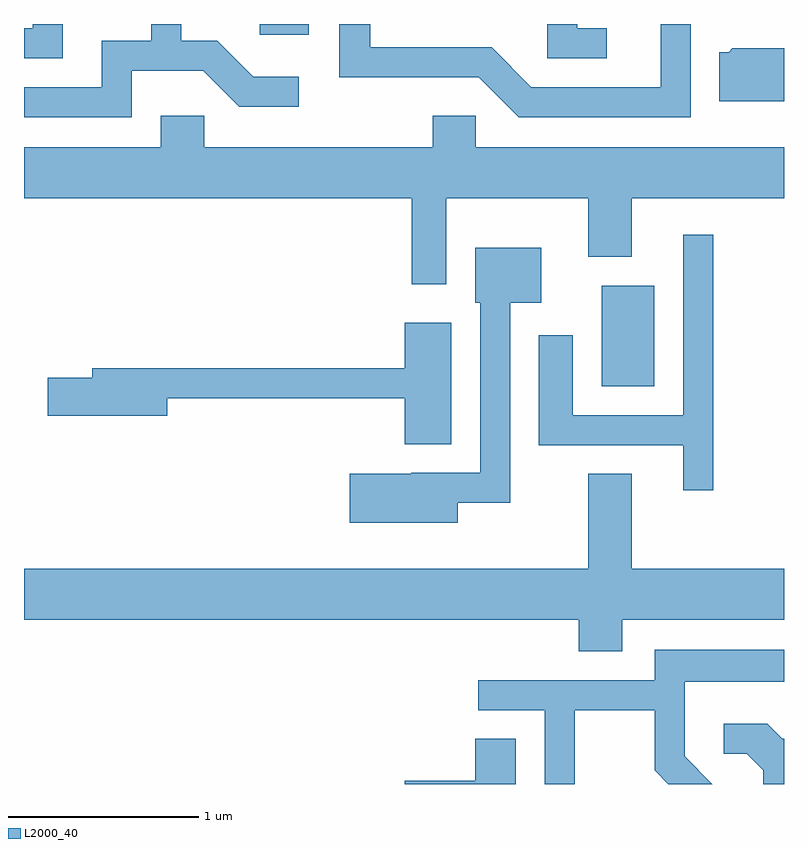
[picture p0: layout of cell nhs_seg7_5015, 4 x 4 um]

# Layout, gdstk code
import gdstk
lib = gdstk.Library(unit=1e-6, precision=1e-09)
def R(c, l, rs):  # rectangles x0, y0, x1, y1
    for r in rs: c.add(gdstk.rectangle(r[:2], r[2:], *l))
def P(c, l, *ps):  # polygons
    for p in ps: c.add(gdstk.Polygon(p, *l))
L2000_40 = (2000, 40)

nhs_seg7_5015 = lib.new_cell('nhs_seg7_5015')
R(nhs_seg7_5015, L2000_40, [(340.651,1804.346,340.929,1804.874), (338.851,1806.196,339.109,1806.252)])
P(nhs_seg7_5015, L2000_40, [(337.814,1806.252),(337.656,1806.252),(337.656,1806.229),(337.611,1806.229),(337.611,1806.071),(337.814,1806.071)],
  [(340.678,1806.229),(340.524,1806.229),(340.524,1806.252),(340.366,1806.252),(340.366,1806.071),(340.678,1806.071)],
  [(338.179,1806.006),(338.554,1806.006),(338.744,1805.816),(339.058,1805.816),(339.058,1805.974),(338.817,1805.974),(338.627,1806.164),(338.439,1806.164),(338.439,1806.252),(338.281,1806.252),(338.281,1806.164),(338.021,1806.164),(338.021,1805.919),(337.611,1805.919),(337.611,1805.761),(338.179,1805.761)],
  [(341.119,1806.252),(340.961,1806.252),(340.961,1805.919),(340.282,1805.919),(340.072,1806.129),(339.434,1806.129),(339.434,1806.252),(339.271,1806.252),(339.271,1805.971),(340.004,1805.971),(340.214,1805.761),(341.119,1805.761)],
  [(341.611,1806.124),(341.339,1806.124),(341.319,1806.104),(341.271,1806.104),(341.271,1805.846),(341.611,1805.846)],
  [(339.834,1805.336),(340.581,1805.336),(340.581,1805.026),(340.809,1805.026),(340.809,1805.336),(341.611,1805.336),(341.611,1805.604),(339.989,1805.604),(339.989,1805.769),(339.761,1805.769),(339.761,1805.604),(338.559,1805.604),(338.559,1805.769),(338.331,1805.769),(338.331,1805.604),(337.611,1805.604),(337.611,1805.336),(339.651,1805.336),(339.651,1804.881),(339.834,1804.881)],
  [(341.239,1805.143),(341.081,1805.143),(341.081,1804.194),(340.499,1804.194),(340.499,1804.614),(340.321,1804.614),(340.321,1804.036),(341.081,1804.036),(341.081,1803.798),(341.239,1803.798)],
  [(339.894,1803.731),(340.169,1803.731),(340.169,1804.786),(340.334,1804.786),(340.334,1805.074),(339.986,1805.074),(339.986,1804.786),(340.011,1804.786),(340.011,1803.889),(339.65,1803.889),(339.65,1803.884),(339.326,1803.884),(339.326,1803.626),(339.894,1803.626)],
  [(339.859,1804.679),(339.616,1804.679),(339.616,1804.439),(337.971,1804.439),(337.971,1804.389),(337.736,1804.389),(337.736,1804.191),(338.364,1804.191),(338.364,1804.281),(339.616,1804.281),(339.616,1804.041),(339.859,1804.041)],
  [(340.759,1803.116),(341.611,1803.116),(341.611,1803.384),(340.809,1803.384),(340.809,1803.884),(340.581,1803.884),(340.581,1803.384),(337.611,1803.384),(337.611,1803.116),(340.531,1803.116),(340.531,1802.951),(340.759,1802.951)],
  [(340.509,1802.641),(340.931,1802.641),(340.931,1802.324),(341.003,1802.252),(341.234,1802.252),(341.089,1802.397),(341.089,1802.791),(341.611,1802.791),(341.611,1802.959),(340.931,1802.959),(340.931,1802.799),(340.003,1802.799),(340.003,1802.641),(340.351,1802.641),(340.351,1802.252),(340.509,1802.252)],
  [(341.611,1802.489),(341.602,1802.489),(341.522,1802.569),(341.293,1802.569),(341.293,1802.411),(341.414,1802.411),(341.501,1802.324),(341.501,1802.252),(341.611,1802.252)],
  [(340.199,1802.489),(339.986,1802.489),(339.986,1802.269),(339.616,1802.269),(339.616,1802.252),(340.199,1802.252)])

lib.write_gds('nhs_seg7_5015.gds')
